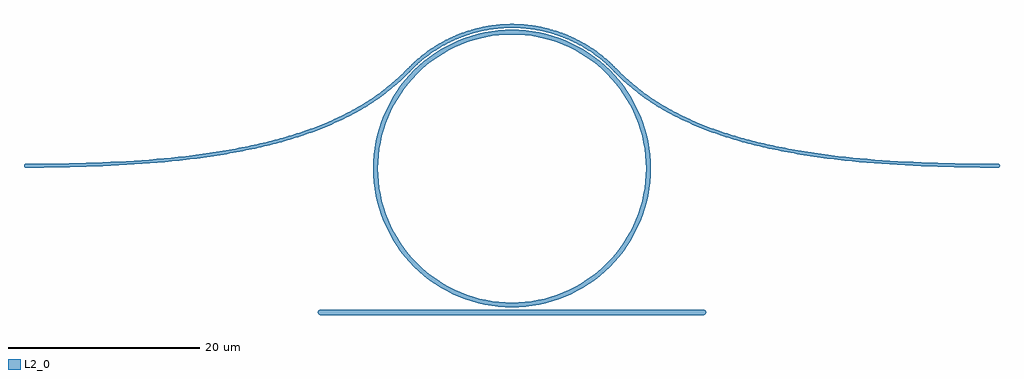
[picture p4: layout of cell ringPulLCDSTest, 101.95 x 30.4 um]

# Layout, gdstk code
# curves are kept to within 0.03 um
import gdstk
lib = gdstk.Library(unit=1e-6, precision=1e-09)
def P(c, l, *ps):  # polygons
    for p in ps: c.add(gdstk.Polygon(p, *l))
L2_0 = (2, 0)

ringpullcdstest = lib.new_cell('ringPulLCDSTest')
P(ringpullcdstest, L2_0, [(10,-34.5),(8.579,-34.43),(7.171,-34.221),(5.791,-33.876),(4.451,-33.396),(3.165,-32.788),(1.944,-32.056),(0.801,-31.209),(-0.253,-30.253),(-1.209,-29.199),(-2.056,-28.056),(-2.788,-26.835),(-3.396,-25.549),(-3.876,-24.209),(-4.221,-22.829),(-4.43,-21.421),(-4.5,-20),(-4.43,-18.579),(-4.221,-17.171),(-3.876,-15.791),(-3.396,-14.451),(-2.788,-13.165),(-2.056,-11.944),(-1.209,-10.801),(-0.253,-9.747),(0.801,-8.791),(1.944,-7.944),(3.165,-7.212),(4.451,-6.604),(5.791,-6.124),(7.171,-5.779),(8.579,-5.57),(10,-5.5),(11.421,-5.57),(12.829,-5.779),(14.209,-6.124),(15.549,-6.604),(16.835,-7.212),(18.056,-7.944),(19.199,-8.791),(20.253,-9.747),(21.209,-10.801),(22.056,-11.944),(22.788,-13.165),(23.396,-14.451),(23.876,-15.791),(24.221,-17.171),(24.43,-18.579),(24.5,-20),(24,-20),(23.933,-18.628),(23.731,-17.269),(23.397,-15.936),(22.934,-14.642),(22.347,-13.4),(21.641,-12.222),(21.245,-11.66),(20.822,-11.118),(19.899,-10.101),(18.882,-9.178),(18.34,-8.755),(17.778,-8.359),(16.6,-7.653),(15.358,-7.066),(14.716,-6.818),(13.402,-6.42),(12.731,-6.269),(11.372,-6.067),(10,-6),(9.313,-6.017),(8.628,-6.067),(7.269,-6.269),(5.936,-6.603),(5.284,-6.818),(4.014,-7.344),(3.4,-7.653),(2.222,-8.359),(1.66,-8.755),(1.118,-9.178),(0.101,-10.101),(-0.822,-11.118),(-1.641,-12.222),(-2.008,-12.803),(-2.656,-14.014),(-3.182,-15.284),(-3.397,-15.936),(-3.731,-17.269),(-3.933,-18.628),(-3.983,-19.313),(-4,-20),(-3.933,-21.372),(-3.731,-22.731),(-3.397,-24.064),(-3.182,-24.716),(-2.656,-25.986),(-2.347,-26.6),(-1.641,-27.778),(-0.822,-28.882),(-0.373,-29.402),(0.598,-30.373),(1.66,-31.245),(2.222,-31.641),(3.4,-32.347),(4.642,-32.934),(5.936,-33.397),(7.269,-33.731),(7.946,-33.848),(9.313,-33.983),(10,-34),(11.372,-33.933),(12.731,-33.731),(14.064,-33.397),(14.716,-33.182),(15.986,-32.656),(16.6,-32.347),(17.778,-31.641),(18.882,-30.822),(19.402,-30.373),(20.373,-29.402),(21.245,-28.34),(22.008,-27.197),(22.656,-25.986),(23.182,-24.716),(23.397,-24.064),(23.731,-22.731),(23.848,-22.054),(23.933,-21.372),(24,-20),(24.5,-20),(24.43,-21.421),(24.221,-22.829),(23.876,-24.209),(23.396,-25.549),(22.788,-26.835),(22.056,-28.056),(21.209,-29.199),(20.253,-30.253),(19.199,-31.209),(18.056,-32.056),(16.835,-32.788),(15.549,-33.396),(14.209,-33.876),(12.829,-34.221),(11.421,-34.43)],
  [(-40.774,-19.907),(-40.774,-19.507),(-36.223,-19.46),(-31.101,-19.27),(-27.111,-18.994),(-23.368,-18.604),(-20.551,-18.204),(-18.212,-17.788),(-15.683,-17.234),(-13.312,-16.594),(-11.089,-15.864),(-9.013,-15.041),(-7.315,-14.241),(-5.507,-13.232),(-4.04,-12.264),(-2.68,-11.215),(-1.773,-10.414),(-0.256,-8.917),(0.84,-7.995),(2.019,-7.181),(3.185,-6.525),(4.76,-5.838),(6.404,-5.334),(8.189,-5.009),(10,-4.9),(10,-5.3),(8.237,-5.406),(6.409,-5.745),(4.725,-6.279),(3.2,-6.967),(2.073,-7.62),(1.009,-8.37),(0.084,-9.148),(-1.514,-10.719),(-2.624,-11.687),(-4.018,-12.738),(-5.298,-13.573),(-7.128,-14.594),(-9.101,-15.514),(-10.946,-16.238),(-13.193,-16.976),(-15.898,-17.697),(-18.458,-18.243),(-21.521,-18.757),(-24.781,-19.17),(-27.845,-19.456),(-31.9,-19.711),(-36.208,-19.859)],
  [(60.774,-19.907),(56.208,-19.859),(51.9,-19.711),(47.845,-19.456),(44.781,-19.17),(41.521,-18.757),(38.458,-18.243),(35.898,-17.697),(33.193,-16.976),(30.946,-16.238),(29.101,-15.514),(27.128,-14.594),(25.298,-13.573),(24.018,-12.738),(22.624,-11.687),(21.514,-10.719),(19.916,-9.148),(18.991,-8.37),(17.927,-7.62),(16.8,-6.967),(15.275,-6.279),(13.591,-5.745),(11.763,-5.406),(10,-5.3),(10,-4.9),(11.811,-5.009),(13.596,-5.334),(15.24,-5.838),(16.815,-6.525),(17.981,-7.181),(19.16,-7.995),(20.256,-8.917),(21.773,-10.414),(22.68,-11.215),(24.04,-12.264),(25.507,-13.232),(27.315,-14.241),(29.013,-15.041),(31.089,-15.864),(33.312,-16.594),(35.683,-17.234),(38.212,-17.788),(40.551,-18.204),(43.368,-18.604),(47.111,-18.994),(51.101,-19.27),(56.223,-19.46),(60.774,-19.507)],
  [(-10,-35.3),(-10.194,-35.219),(-10.275,-35.025),(-10.194,-34.831),(-10,-34.75),(30,-34.75),(30.194,-34.831),(30.275,-35.025),(30.194,-35.219),(30,-35.3)],
  [(60.774,-19.907),(60.774,-19.507),(60.851,-19.523),(60.915,-19.566),(60.958,-19.629),(60.974,-19.707),(60.958,-19.785),(60.915,-19.849),(60.851,-19.892)],
  [(-40.774,-19.907),(-40.851,-19.892),(-40.915,-19.849),(-40.958,-19.785),(-40.974,-19.707),(-40.958,-19.629),(-40.915,-19.566),(-40.851,-19.523),(-40.774,-19.507)])

lib.write_gds('ringPulLCDSTest.gds')
